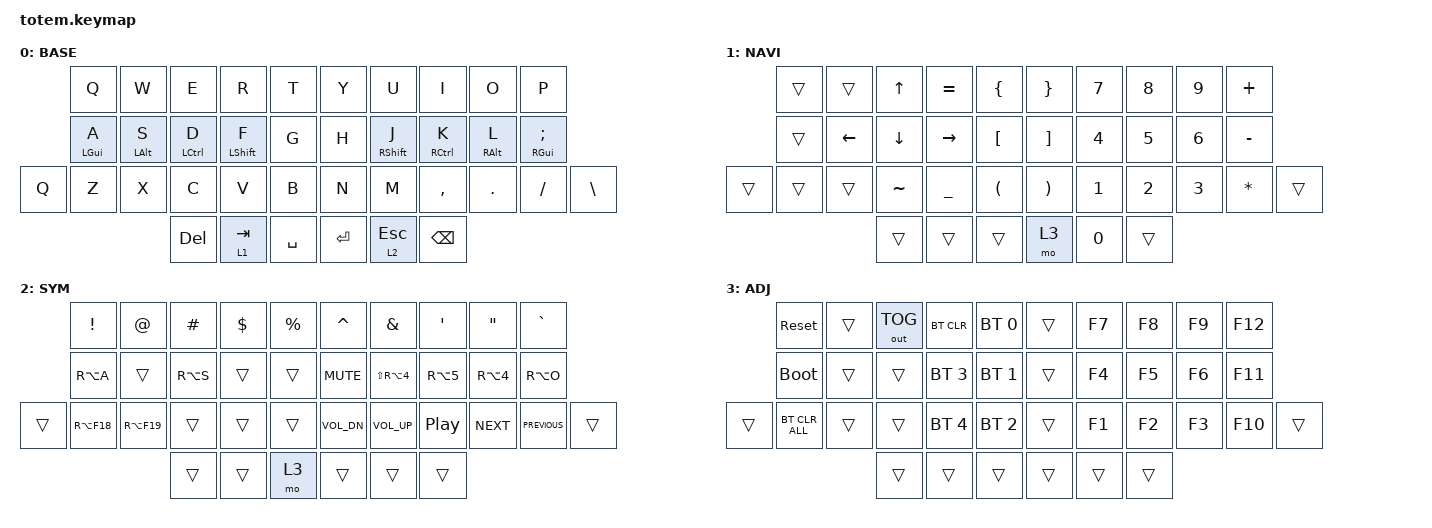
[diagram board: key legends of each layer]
//
//                                                        ▀▀▀▀▀     ▀▀▀▀▀          ▀▀█▀▀
//                                                        ▄▀▀▀▄  ▄  ▄▀▀▀▄  ▄  ▄▀▀▀▄  █  ▄▀▀▀▄
//                                                        █   █  █  █   █  █  █   █  █  █   █
//                                                         ▀▀▀   █   ▀▀▀   █   ▀▀▀   ▀   ▀▀▀
//                                                               █      ▄▄▄█▄▄▄    █   █  
//                                                               ▀      █  █  █     █▄█
//                                                             ▀▀▀▀▀    █  █  █      ▀
//                                                                      ▀  ▀  ▀
//
// ▄▄▄▄▄▄▄▄▄▄▄▄▄▄▄▄▄▄▄▄▄▄▄▄▄▄▄▄▄▄▄▄▄▄▄▄▄▄▄▄▄▄▄▄▄▄▄▄▄▄▄▄▄▄▄▄▄▄▄▄▄▄▄▄▄▄▄▄▄▄▄▄▄▄▄▄▄▄▄▄▄▄▄▄▄▄▄▄▄▄▄▄▄▄▄▄▄▄▄▄▄▄▄▄▄▄▄▄▄▄▄▄▄▄▄▄▄▄▄▄▄▄▄▄▄▄▄▄▄▄▄▄▄▄▄▄▄▄▄▄▄▄▄▄▄▄▄▄▄

#include <behaviors.dtsi>
#include <dt-bindings/zmk/bt.h>
#include <dt-bindings/zmk/keys.h>
#include <dt-bindings/zmk/outputs.h>

#define BASE 0
#define NAV  1
#define SYM  2
#define ADJ  3
#define TVP1 4
#define TVP2 5

&mt {
    quick-tap-ms = <100>;
    global-quick-tap;
    flavor = "tap-preferred";
    tapping-term-ms = <170>;
};

/ {
    combos {
        compatible = "zmk,combos";

        combo_esc {
            timeout-ms = <50>;
            key-positions = <0 1>;
            bindings = <&kp ESC>;
        };

        combo_tvp {
            timeout-ms = <100>;
            key-positions = <11 12 13>;
            bindings = <&tog 0>;
        };
    };

    macros {
        gif: gif {
            label = "giphy";
            compatible = "zmk,behavior-macro";
            #binding-cells = <0>;
            bindings =
                <&macro_press>,
                <&kp LSHFT>,
                <&macro_tap>,
                <&kp N2>,
                <&macro_release>,
                <&kp LSHFT>,
                <&macro_tap>,
                <&kp G &kp I &kp F>;
        };
    };

    keymap {
        compatible = "zmk,keymap";

        // ▄▄▄▄▄▄▄▄▄▄▄▄▄▄▄▄▄▄▄▄▄▄▄▄▄▄▄▄▄▄▄▄▄▄▄▄▄▄▄▄▄▄▄▄▄▄▄▄▄▄▄▄▄▄▄▄▄▄▄▄▄▄▄▄▄▄▄▄▄▄▄▄▄▄▄▄▄▄▄▄▄▄▄▄▄▄▄▄▄▄▄▄▄▄▄▄▄▄▄▄▄▄▄▄▄▄▄▄▄▄▄▄▄▄▄▄▄▄▄▄▄▄▄▄▄▄▄▄▄▄▄▄▄▄▄▄▄▄▄▄▄▄▄▄▄▄▄▄▄

        base_layer {
            // ┏━━━━━━━━━━━━━━━━━━━━━━━━━━━━━━━━━━━━━━━┓

            label = "BASE";

            // ┗━━━━━━━━━━━━━━━━━━━━━━━━━━━━━━━━━━━━━━━┛
            //             ┏━━━━━━━━━━━┳━━━━━━━━━━━┳━━━━━━━━━━━┳━━━━━━━━━━━┳━━━━━━━━━━━┓   ┏━━━━━━━━━━━┳━━━━━━━━━━━┳━━━━━━━━━━━┳━━━━━━━━━━━┳━━━━━━━━━━━┓
            //             ┃     Q     ┃     W     ┃     F     ┃     P     ┃     G     ┃   ┃     J     ┃     L     ┃     U     ┃     Y     ┃     ;     ┃
            //             ┣━━━━━━━━━━━╋━━━━━━━━━━━╋━━━━━━━━━━━╋━━━━━━━━━━━╋━━━━━━━━━━━┫   ┣━━━━━━━━━━━╋━━━━━━━━━━━╋━━━━━━━━━━━╋━━━━━━━━━━━╋━━━━━━━━━━━┫
            //             ┃     A     ┃     R     ┃     S     ┃     T     ┃     D     ┃   ┃     H     ┃     N     ┃     E     ┃     I     ┃     O     ┃
            // ┏━━━━━━━━━━━╋━━━━━━━━━━━╋━━━━━━━━━━━╋━━━━━━━━━━━╋━━━━━━━━━━━╋━━━━━━━━━━━┫   ┣━━━━━━━━━━━╋━━━━━━━━━━━╋━━━━━━━━━━━╋━━━━━━━━━━━╋━━━━━━━━━━━╋━━━━━━━━━━━┓
            // ┃     Q     ┃     Z     ┃     X     ┃     C     ┃     V     ┃     B     ┃   ┃     K     ┃     M     ┃     ,     ┃     .     ┃     /     ┃     \     ┃
            // ┗━━━━━━━━━━━┻━━━━━━━━━━━┻━━━━━━━━━━━╋━━━━━━━━━━━╋━━━━━━━━━━━╋━━━━━━━━━━━┫   ┣━━━━━━━━━━━╋━━━━━━━━━━━╋━━━━━━━━━━━╋━━━━━━━━━━━┻━━━━━━━━━━━┻━━━━━━━━━━━┛
            //                                     ┃    DEL    ┃    TAB    ┃    SPC    ┃   ┃   ENTER   ┃           ┃   BSPC    ┃
            //                                     ┗━━━━━━━━━━━┻━━━━━━━━━━━┻━━━━━━━━━━━┛   ┗━━━━━━━━━━━┻━━━━━━━━━━━┻━━━━━━━━━━━┛

            bindings = <
       &kp Q       &kp W       &kp E        &kp R        &kp T        &kp Y    &kp U        &kp I        &kp O       &kp P
       &mt LGUI A  &mt LALT S  &mt LCTRL D  &mt LSHFT F  &kp G        &kp H    &mt RSHFT J  &mt RCTRL K  &mt RALT L  &mt RGUI SEMICOLON
&kp Q  &kp Z       &kp X       &kp C        &kp V        &kp B        &kp N    &kp M        &kp COMMA    &kp DOT     &kp FSLH            &kp BACKSLASH
                               &kp DEL      &lt 1 TAB    &kp SPACE    &kp RET  &lt 2 ESC    &kp BSPC
            >;
        };

        // ▄▄▄▄▄▄▄▄▄▄▄▄▄▄▄▄▄▄▄▄▄▄▄▄▄▄▄▄▄▄▄▄▄▄▄▄▄▄▄▄▄▄▄▄▄▄▄▄▄▄▄▄▄▄▄▄▄▄▄▄▄▄▄▄▄▄▄▄▄▄▄▄▄▄▄▄▄▄▄▄▄▄▄▄▄▄▄▄▄▄▄▄▄▄▄▄▄▄▄▄▄▄▄▄▄▄▄▄▄▄▄▄▄▄▄▄▄▄▄▄▄▄▄▄▄▄▄▄▄▄▄▄▄▄▄▄▄▄▄▄▄▄▄▄▄▄▄▄▄

        nav_layer {
            // ┏━━━━━━━━━━━━━━━━━━━━━━━━━━━━━━━━━━━━━━━┓

            label = "NAVI";

            // ┗━━━━━━━━━━━━━━━━━━━━━━━━━━━━━━━━━━━━━━━┛
            //             ┏━━━━━━━━━━━┳━━━━━━━━━━━┳━━━━━━━━━━━┳━━━━━━━━━━━┳━━━━━━━━━━━┓   ┏━━━━━━━━━━━┳━━━━━━━━━━━┳━━━━━━━━━━━┳━━━━━━━━━━━┳━━━━━━━━━━━┓
            //             ┃           ┃           ┃     UP    ┃           ┃     {     ┃   ┃     }     ┃     7     ┃     8     ┃     9     ┃     +     ┃
            //             ┣━━━━━━━━━━━╋━━━━━━━━━━━╋━━━━━━━━━━━╋━━━━━━━━━━━╋━━━━━━━━━━━┫   ┣━━━━━━━━━━━╋━━━━━━━━━━━╋━━━━━━━━━━━╋━━━━━━━━━━━╋━━━━━━━━━━━┫
            //             ┃   SHIFT   ┃   LEFT    ┃    DOWN   ┃   RIGHT   ┃     [     ┃   ┃     ]     ┃     4     ┃     5     ┃     6     ┃     -     ┃
            // ┏━━━━━━━━━━━╋━━━━━━━━━━━╋━━━━━━━━━━━╋━━━━━━━━━━━╋━━━━━━━━━━━╋━━━━━━━━━━━┫   ┣━━━━━━━━━━━╋━━━━━━━━━━━╋━━━━━━━━━━━╋━━━━━━━━━━━╋━━━━━━━━━━━╋━━━━━━━━━━━┓
            // ┃           ┃           ┃   P UP    ┃  C LOCK   ┃  P DOWN   ┃     (     ┃   ┃     )     ┃     1     ┃     2     ┃     3     ┃     *     ┃           ┃
            // ┗━━━━━━━━━━━┻━━━━━━━━━━━┻━━━━━━━━━━━╋━━━━━━━━━━━╋━━━━━━━━━━━╋━━━━━━━━━━━┫   ┣━━━━━━━━━━━╋━━━━━━━━━━━╋━━━━━━━━━━━╋━━━━━━━━━━━┻━━━━━━━━━━━┻━━━━━━━━━━━┛
            //                                     ┃           ┃    TAB    ┃    SPC    ┃   ┃    DEL    ┃     0     ┃           ┃
            //                                     ┗━━━━━━━━━━━┻━━━━━━━━━━━┻━━━━━━━━━━━┛   ┗━━━━━━━━━━━┻━━━━━━━━━━━┻━━━━━━━━━━━┛

            bindings = <
        &trans  &trans    &kp UP     &kp EQUAL  &kp LBRC    &kp RBRC  &kp N7        &kp N8        &kp N9        &kp PLUS
        &trans  &kp LEFT  &kp DOWN   &kp RIGHT  &kp LBKT    &kp RBKT  &kp NUMBER_4  &kp N5        &kp NUMBER_6  &kp MINUS
&trans  &trans  &trans    &kp TILDE  &kp UNDER  &kp LPAR    &kp RPAR  &kp NUMBER_1  &kp NUMBER_2  &kp NUMBER_3  &kp ASTERISK  &trans
                          &trans     &trans     &trans      &mo 3     &kp N0        &trans
            >;
        };

        // ▄▄▄▄▄▄▄▄▄▄▄▄▄▄▄▄▄▄▄▄▄▄▄▄▄▄▄▄▄▄▄▄▄▄▄▄▄▄▄▄▄▄▄▄▄▄▄▄▄▄▄▄▄▄▄▄▄▄▄▄▄▄▄▄▄▄▄▄▄▄▄▄▄▄▄▄▄▄▄▄▄▄▄▄▄▄▄▄▄▄▄▄▄▄▄▄▄▄▄▄▄▄▄▄▄▄▄▄▄▄▄▄▄▄▄▄▄▄▄▄▄▄▄▄▄▄▄▄▄▄▄▄▄▄▄▄▄▄▄▄▄▄▄▄▄▄▄▄▄

        sim_layer {
            // ┏━━━━━━━━━━━━━━━━━━━━━━━━━━━━━━━━━━━━━━━┓

            label = "SYM";

            // ┗━━━━━━━━━━━━━━━━━━━━━━━━━━━━━━━━━━━━━━━┛
            //             ┏━━━━━━━━━━━┳━━━━━━━━━━━┳━━━━━━━━━━━┳━━━━━━━━━━━┳━━━━━━━━━━━┓   ┏━━━━━━━━━━━┳━━━━━━━━━━━┳━━━━━━━━━━━┳━━━━━━━━━━━┳━━━━━━━━━━━┓
            //             ┃     !     ┃     @     ┃     #     ┃     $     ┃     %     ┃   ┃     ˆ     ┃     &     ┃     Ü     ┃     '     ┃     "     ┃
            //             ┣━━━━━━━━━━━╋━━━━━━━━━━━╋━━━━━━━━━━━╋━━━━━━━━━━━╋━━━━━━━━━━━┫   ┣━━━━━━━━━━━╋━━━━━━━━━━━╋━━━━━━━━━━━╋━━━━━━━━━━━╋━━━━━━━━━━━┫
            //             ┃     Ä     ┃           ┃    SZ     ┃           ┃           ┃   ┃   MUTE    ┃   YEN     ┃   EURO    ┃  POUND    ┃     Ö     ┃
            // ┏━━━━━━━━━━━╋━━━━━━━━━━━╋━━━━━━━━━━━╋━━━━━━━━━━━╋━━━━━━━━━━━╋━━━━━━━━━━━┫   ┣━━━━━━━━━━━╋━━━━━━━━━━━╋━━━━━━━━━━━╋━━━━━━━━━━━╋━━━━━━━━━━━╋━━━━━━━━━━━┓
            // ┃           ┃  EMAIL1   ┃  EMAIL2   ┃           ┃           ┃           ┃   ┃   VOL-    ┃   VOL+    ┃   LAST    ┃   NEXT    ┃     \     ┃           ┃
            // ┗━━━━━━━━━━━┻━━━━━━━━━━━┻━━━━━━━━━━━╋━━━━━━━━━━━╋━━━━━━━━━━━╋━━━━━━━━━━━┫   ┣━━━━━━━━━━━╋━━━━━━━━━━━╋━━━━━━━━━━━╋━━━━━━━━━━━┻━━━━━━━━━━━┻━━━━━━━━━━━┛
            //                                     ┃           ┃    GIF    ┃    ADJ    ┃   ┃           ┃           ┃           ┃
            //                                     ┗━━━━━━━━━━━┻━━━━━━━━━━━┻━━━━━━━━━━━┛   ┗━━━━━━━━━━━┻━━━━━━━━━━━┻━━━━━━━━━━━┛

            bindings = <
        &kp EXCL     &kp AT       &kp HASH   &kp DLLR  &kp PRCNT    &kp CARET     &kp AMPS        &kp SINGLE_QUOTE  &kp DOUBLE_QUOTES  &kp GRAVE
        &kp RA(A)    &trans       &kp RA(S)  &trans    &trans       &kp C_MUTE    &kp LS(RA(N4))  &kp RA(N5)        &kp RA(N4)         &kp RA(O)
&trans  &kp RA(F18)  &kp RA(F19)  &trans     &trans    &trans       &kp C_VOL_DN  &kp C_VOL_UP    &kp C_PP          &kp C_NEXT         &kp C_PREVIOUS  &trans
                                  &trans     &trans    &mo 3        &trans        &trans          &trans
            >;
        };

        // ▄▄▄▄▄▄▄▄▄▄▄▄▄▄▄▄▄▄▄▄▄▄▄▄▄▄▄▄▄▄▄▄▄▄▄▄▄▄▄▄▄▄▄▄▄▄▄▄▄▄▄▄▄▄▄▄▄▄▄▄▄▄▄▄▄▄▄▄▄▄▄▄▄▄▄▄▄▄▄▄▄▄▄▄▄▄▄▄▄▄▄▄▄▄▄▄▄▄▄▄▄▄▄▄▄▄▄▄▄▄▄▄▄▄▄▄▄▄▄▄▄▄▄▄▄▄▄▄▄▄▄▄▄▄▄▄▄▄▄▄▄▄▄▄▄▄▄▄▄

        adjust_layer {
            // ┏━━━━━━━━━━━━━━━━━━━━━━━━━━━━━━━━━━━━━━━┓

            label = "ADJ";

            // ┗━━━━━━━━━━━━━━━━━━━━━━━━━━━━━━━━━━━━━━━┛
            //             ┏━━━━━━━━━━━┳━━━━━━━━━━━┳━━━━━━━━━━━┳━━━━━━━━━━━┳━━━━━━━━━━━┓   ┏━━━━━━━━━━━┳━━━━━━━━━━━┳━━━━━━━━━━━┳━━━━━━━━━━━┳━━━━━━━━━━━┓
            //             ┃   RESET   ┃ BT CLEAR  ┃  OUT TOG  ┃           ┃           ┃   ┃           ┃    F7     ┃    F8     ┃    F9     ┃    F12    ┃
            //             ┣━━━━━━━━━━━╋━━━━━━━━━━━╋━━━━━━━━━━━╋━━━━━━━━━━━╋━━━━━━━━━━━┫   ┣━━━━━━━━━━━╋━━━━━━━━━━━╋━━━━━━━━━━━╋━━━━━━━━━━━╋━━━━━━━━━━━┫
            //             ┃ BOOTLOAD  ┃ BT NEXT   ┃           ┃           ┃           ┃   ┃           ┃    F4     ┃    F5     ┃    F6     ┃    F11    ┃
            // ┏━━━━━━━━━━━╋━━━━━━━━━━━╋━━━━━━━━━━━╋━━━━━━━━━━━╋━━━━━━━━━━━╋━━━━━━━━━━━┫   ┣━━━━━━━━━━━╋━━━━━━━━━━━╋━━━━━━━━━━━╋━━━━━━━━━━━╋━━━━━━━━━━━╋━━━━━━━━━━━┓
            // ┃           ┃           ┃ BT PREV   ┃           ┃           ┃           ┃   ┃           ┃    F1     ┃    F2     ┃    F3     ┃    F10    ┃           ┃
            // ┗━━━━━━━━━━━┻━━━━━━━━━━━┻━━━━━━━━━━━╋━━━━━━━━━━━╋━━━━━━━━━━━╋━━━━━━━━━━━┫   ┣━━━━━━━━━━━╋━━━━━━━━━━━╋━━━━━━━━━━━╋━━━━━━━━━━━┻━━━━━━━━━━━┻━━━━━━━━━━━┛
            //                                     ┃           ┃           ┃           ┃   ┃           ┃           ┃           ┃
            //                                     ┗━━━━━━━━━━━┻━━━━━━━━━━━┻━━━━━━━━━━━┛   ┗━━━━━━━━━━━┻━━━━━━━━━━━┻━━━━━━━━━━━┛

            bindings = <
        &sys_reset      &trans  &out OUT_TOG  &bt BT_CLR    &bt BT_SEL 0    &trans  &kp F7  &kp F8  &kp F9  &kp F12
        &bootloader     &trans  &trans        &bt BT_SEL 3  &bt BT_SEL 1    &trans  &kp F4  &kp F5  &kp F6  &kp F11
&trans  &bt BT_CLR_ALL  &trans  &trans        &bt BT_SEL 4  &bt BT_SEL 2    &trans  &kp F1  &kp F2  &kp F3  &kp F10  &trans
                                &trans        &trans        &trans          &trans  &trans  &trans
            >;
        };

        // ▄▄▄▄▄▄▄▄▄▄▄▄▄▄▄▄▄▄▄▄▄▄▄▄▄▄▄▄▄▄▄▄▄▄▄▄▄▄▄▄▄▄▄▄▄▄▄▄▄▄▄▄▄▄▄▄▄▄▄▄▄▄▄▄▄▄▄▄▄▄▄▄▄▄▄▄▄▄▄▄▄▄▄▄▄▄▄▄▄▄▄▄▄▄▄▄▄▄▄▄▄▄▄▄▄▄▄▄▄▄▄▄▄▄▄▄▄▄▄▄▄▄▄▄▄▄▄▄▄▄▄▄▄▄▄▄▄▄▄▄▄▄▄▄▄▄▄▄▄
        // ▄▄▄▄▄▄▄▄▄▄▄▄▄▄▄▄▄▄▄▄▄▄▄▄▄▄▄▄▄▄▄▄▄▄▄▄▄▄▄▄▄▄▄▄▄▄▄▄▄▄▄▄▄▄▄▄▄▄▄▄▄▄▄▄▄▄▄▄▄▄▄▄▄▄▄▄▄▄▄▄▄▄▄▄▄▄▄▄▄▄▄▄▄▄▄▄▄▄▄▄▄▄▄▄▄▄▄▄▄▄▄▄▄▄▄▄▄▄▄▄▄▄▄▄▄▄▄▄▄▄▄▄▄▄▄▄▄▄▄▄▄▄▄▄▄▄▄▄▄
    };
};
